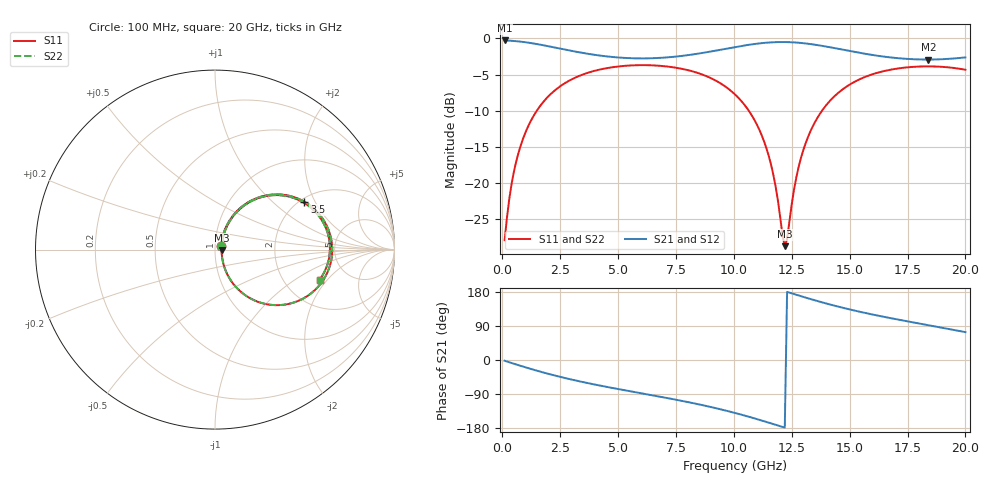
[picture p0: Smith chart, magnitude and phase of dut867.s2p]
! Touchstone file exported from HFSS 2026.1.0
!  File:  C:/ffzhzh/LocalFiles/Ansys_Project_Files/temp_train_TSV_RDL_867_1783271764_38704.aedt
!  Generated:  01:29:57 AM Jul  6, 2026
!  Design:  TSV_RDL
!  Project:  temp_train_TSV_RDL_867_1783271764_38704
! Variables:
!  h_bsmrdl = 2.23um
!  h_ox = 20um
!  h_rdl = 5um
!  h_sub = 77.19um
!  h_tmrdl = 5.18um
!  h_tsv = 77.19um
!  h_via = 3um
!  l_bsmrdl = 260.51um
!  l_sub = 5014.92um
!  l_tmrdl = 940.7um
!  m_sub = 200um
!  pitch = 47.88um
!  r_tsv = 5.55um
!  s_tmrdl = 10um
!  w_bsmrdl = 10.25um
!  w_sub = 500um
!  w_tmrdl = 13.28um
!  x_tsv_center1 = 947.34um
!  x_tsv_center2 = 1218.1um
!  x_tsv_center3 = 2172.08um
!  x_tsv_center4 = 2442.84um
!  x_tsv_center5 = 3396.82um
!  x_tsv_center6 = 3667.58um
# GHz S MA R 50.000000
! Terminal data exported
! Port[1] = TM_RDL1_1_T1
! Port[2] = TM_RDL5_1_T1
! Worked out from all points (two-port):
!   200 points, 100 MHz to 20 GHz, reference 50 ohm
!   highest |S21| = -0.29 dB at 100 MHz (marker M1); lowest = -2.9 dB at 18.4 GHz (marker M2)
!   |S21| within 3 dB of the highest: start of sweep to end of sweep
!   lowest |S11| = -28.7 dB at 12.2 GHz (marker M3), VSWR 1.08, Z = 53.8 - j0.299 ohm
!   |S11| at or under -10 dB: start of sweep to 1.489 GHz; 10.65 GHz to 13.81 GHz (3.159 GHz wide, 25.8 % of centre)
!   |S22| runs from -28.6 to -3.7 dB; largest |S21 - S12| = 1.6e-14
!   S11 on the Smith chart (normalised r, x): 100 MHz: 1.07, +0.05; 3.5 GHz: 2.11, +1.65; 20 GHz: 3.14, -1.66
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0.1  0.04048 33.8  0.9669 -2.0  0.9669 -2.0  0.04048 33.8
! Gamma 0 0 0 0
! Port Impedance 50 0 50 0
0.3  0.07764 58.3  0.9638 -6.0  0.9638 -6.0  0.07764 58.3
0.5  0.1198 63.4  0.9589 -9.8  0.9589 -9.8  0.1198 63.4
1.1  0.2437 60.5  0.9349 -21.2  0.9349 -21.2  0.2437 60.5
2.1  0.4139 46.8  0.8751 -38.3  0.8751 -38.3  0.4139 46.8
3.5  0.5646 28.2  0.7917 -58.5  0.7917 -58.5  0.5646 28.2
5.1  0.6418 10.0  0.7357 -77.7  0.7357 -77.7  0.6418 10.0
6.8  0.6465 -8.0  0.7328 -96.7  0.7328 -96.7  0.6465 -8.0
8.7  0.5579 -29.7  0.7956 -119.8  0.7956 -119.8  0.5579 -29.6
10.1  0.4029 -48.1  0.8731 -140.5  0.8731 -140.5  0.4029 -48.1
10.8  0.2896 -57.6  0.9099 -152.4  0.9099 -152.4  0.2896 -57.5
11.4  0.1758 -63.4  0.9329 -163.3  0.9329 -163.3  0.1758 -63.2
11.8  0.09583 -60.2  0.9412 -170.8  0.9412 -170.8  0.09595 -60.0
12.2  0.0368 -4.3  0.9428 -178.4  0.9428 -178.4  0.0372 -4.2
12.3  0.04123 25.2  0.9422 179.6  0.9422 179.6  0.0416 25.0
12.6  0.09055 58.7  0.9376 174.0  0.9376 174.0  0.09075 58.4
12.8  0.1299 62.5  0.9325 170.2  0.9325 170.2  0.13 62.3
13.4  0.2454 59.7  0.909 159.3  0.909 159.3  0.2455 59.6
14.7  0.4448 43.0  0.8356 137.9  0.8356 137.9  0.4449 42.9
16.7  0.6047 18.9  0.7404 111.3  0.7404 111.3  0.6048 18.8
18.4  0.6405 0.9  0.7139 91.9  0.7139 91.9  0.6406 0.9
20  0.6069 -15.9  0.7389 73.6  0.7389 73.6  0.6069 -16.0
